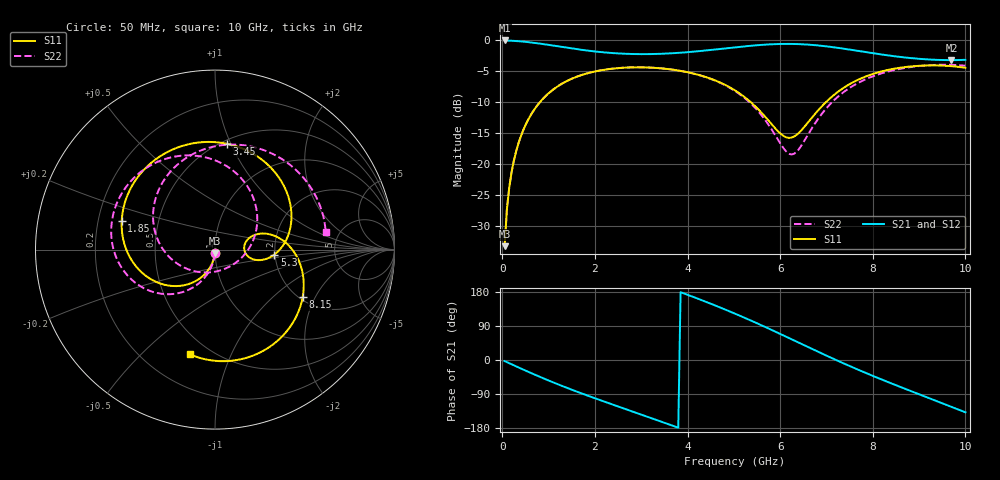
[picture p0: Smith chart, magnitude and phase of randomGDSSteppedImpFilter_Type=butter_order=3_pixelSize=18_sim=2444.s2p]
! freq	dB(S11)	phase(S11)	dB(S12)	phase(S12)
!  dB(S21)	phase(S21)	dB(S22)	phase(S22)
!S-par simulation data
#  GHz  S  DB  R 50
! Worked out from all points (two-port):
!   200 points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, 50 MHz to 10 GHz, reference 50 ohm
!   highest |S21| = -0.01 dB at 50 MHz (marker M1); lowest = -3.2 dB at 9.7 GHz (marker M2)
!   |S21| within 3 dB of the highest: start of sweep to 9.048 GHz
!   lowest |S11| = -33.3 dB at 50 MHz (marker M3), VSWR 1.04, Z = 49.8 - j2.15 ohm
!   |S11| at or under -10 dB: start of sweep to 812.8 MHz; 5.366 GHz to 6.987 GHz (1.621 GHz wide, 26.2 % of centre)
!   |S22| runs from -33.3 to -3.9 dB; largest |S21 - S12| = 0
!   S11 on the Smith chart (normalised r, x): 50 MHz: 1.00, -0.04; 1.85 GHz: 0.30, +0.13; 3.45 GHz: 0.53, +0.97; 5.3 GHz: 1.98, -0.12; 8.15 GHz: 2.08, -1.60; 10 GHz: 0.39, -0.71
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0.05  -33.31 -93.2  -0.01 -2.8  -0.01 -2.8  -33.30 -92.5
0.1  -27.31 -96.5  -0.02 -5.7  -0.02 -5.7  -27.30 -95.2
0.2  -21.35 -103.0  -0.05 -11.3  -0.05 -11.3  -21.34 -100.5
0.5  -13.72 -121.6  -0.23 -27.9  -0.23 -27.9  -13.71 -115.3
1.1  -7.95 -156.7  -0.84 -59.2  -0.84 -59.2  -7.94 -142.8
1.75  -5.52 168.3  -1.56 -89.9  -1.56 -89.9  -5.50 -169.2
1.85  -5.30 163.1  -1.66 -94.3  -1.66 -94.3  -5.29 -173.0
2.7  -4.39 120.6  -2.17 -131.1  -2.17 -131.1  -4.38 156.2
3.4  -4.50 85.9  -2.17 -161.1  -2.17 -161.1  -4.50 131.2
3.45  -4.53 83.5  -2.16 -163.3  -2.16 -163.3  -4.53 129.4
4.3  -5.71 41.0  -1.70 158.2  -1.70 158.2  -5.73 96.1
5.05  -8.21 5.3  -1.10 121.0  -1.10 121.0  -8.30 60.0
5.3  -9.57 -4.7  -0.91 107.8  -0.91 107.8  -9.75 45.1
5.75  -12.98 -14.3  -0.65 83.1  -0.65 83.1  -13.66 9.4
6.2  -15.78 2.5  -0.56 57.4  -0.56 57.4  -18.38 -61.3
6.7  -12.37 20.3  -0.73 28.6  -0.73 28.6  -14.04 -149.6
7.35  -7.77 3.6  -1.31 -7.8  -1.31 -7.8  -8.48 155.9
8.15  -5.10 -28.6  -2.24 -49.4  -2.24 -49.4  -5.42 107.2
8.35  -4.74 -36.7  -2.45 -59.3  -2.45 -59.3  -4.99 96.1
9  -4.11 -62.5  -2.98 -90.4  -2.98 -90.4  -4.15 61.1
9.7  -4.17 -90.5  -3.19 -123.5  -3.19 -123.5  -3.95 24.6
10  -4.44 -103.4  -3.14 -138.1  -3.14 -138.1  -4.09 9.1
